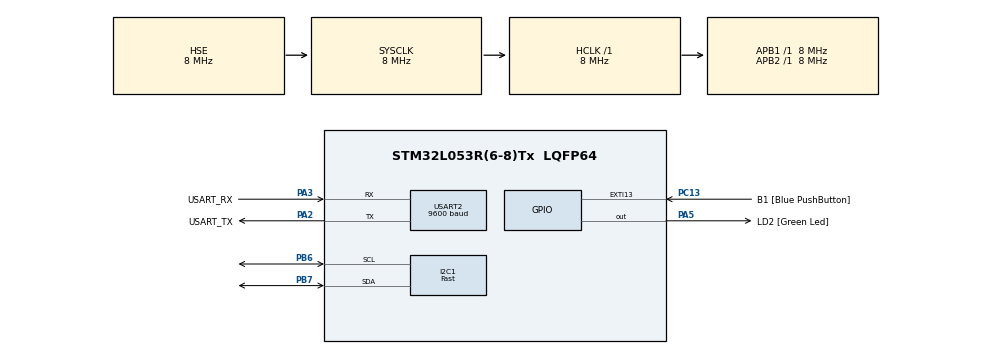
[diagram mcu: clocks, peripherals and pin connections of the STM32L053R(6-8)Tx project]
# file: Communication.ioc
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I2C1.I2C_Fall_Time=200
I2C1.I2C_Rise_Time=200
I2C1.I2C_Speed_Mode=I2C_Fast
I2C1.OwnAddress=0x68
I2C1.Timing=0x00200208
Mcu.Family=STM32L0
Mcu.Name=STM32L053R(6-8)Tx
Mcu.Package=LQFP64
PA13.GPIO_Label=TMS
PA13.Mode=Serial_Wire
PA13.Signal=SYS_SWDIO
PA14.GPIO_Label=TCK
PA14.Mode=Serial_Wire
PA14.Signal=SYS_SWCLK
PA2.GPIO_Label=USART_TX
PA2.Mode=Asynchronous
PA2.Signal=USART2_TX
PA3.GPIO_Label=USART_RX
PA3.Mode=Asynchronous
PA3.Signal=USART2_RX
PA5.GPIO_Label=LD2 [Green Led]
PA5.Signal=GPIO_Output
PB6.Mode=I2C
PB6.Signal=I2C1_SCL
PB7.Mode=I2C
PB7.Signal=I2C1_SDA
PC13.GPIO_Label=B1 [Blue PushButton]
PC13.GPIO_ModeDefaultEXTI=GPIO_MODE_IT_FALLING
PC13.Signal=GPXTI13
PC14-OSC32_IN.Mode=LSE-External-Oscillator
PC14-OSC32_IN.Signal=RCC_OSC32_IN
PC15-OSC32_OUT.Mode=LSE-External-Oscillator
PC15-OSC32_OUT.Signal=RCC_OSC32_OUT
PH0-OSC_IN.Mode=HSE-External-Clock-Source
PH0-OSC_IN.Signal=RCC_OSC_IN
PH1-OSC_OUT.Signal=RCC_OSC_OUT
ProjectManager.HeapSize=0x200
ProjectManager.StackSize=0x400
ProjectManager.TargetToolchain=MDK-ARM V5.27
RCC.AHBFreq_Value=8000000
RCC.APB1Freq_Value=8000000
RCC.APB1TimFreq_Value=8000000
RCC.APB2Freq_Value=8000000
RCC.APB2TimFreq_Value=8000000
RCC.HCLKFreq_Value=8000000
RCC.HSE_VALUE=8000000
RCC.HSI16_VALUE=16000000
RCC.HSI48_VALUE=48000000
RCC.HSI_VALUE=16000000
RCC.MSI_VALUE=2097000
RCC.SYSCLKFreq_VALUE=8000000
RCC.SYSCLKSource=RCC_SYSCLKSOURCE_HSE
RCC.VCOOutputFreq_Value=48000000
USART2.BaudRate=9600
USART2.VirtualMode-Asynchronous=VM_ASYNC
board=NUCLEO-L053R8

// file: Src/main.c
/* USER CODE BEGIN Header */
/**
  ******************************************************************************
  * @file           : main.c
  * @brief          : Main program body
  ******************************************************************************
  * @attention
  *
  * <h2><center>&copy; Copyright (c) 2021 STMicroelectronics.
  * All rights reserved.</center></h2>
  *
  * This software component is licensed by ST under BSD 3-Clause license,
  * the "License"; You may not use this file except in compliance with the
  * License. You may obtain a copy of the License at:
  *                        opensource.org/licenses/BSD-3-Clause
  *
  ******************************************************************************
  */
/* USER CODE END Header */

#include "main.h"

/* USER CODE BEGIN Includes */
#include "stdio.h"
#include "stdlib.h"
/* USER CODE END Includes */

/* USER CODE BEGIN PTD */
typedef struct {
	uint8_t seconds;
	uint8_t minutes;
	uint8_t hour;
	uint8_t dayofweek;
	uint8_t dayofmonth;
	uint8_t month;
	uint8_t year;
}TimeTyepDef;

/* USER CODE END PTD */

/* USER CODE BEGIN PD */
#define DEV_ADDR      0x68 << 1U
/* USER CODE END PD */

I2C_HandleTypeDef hi2c1;

UART_HandleTypeDef huart2;

/* USER CODE BEGIN PV */
TimeTyepDef time;
/* USER CODE END PV */

void SystemClock_Config(void);
static void MX_GPIO_Init(void);
static void MX_USART2_UART_Init(void);
static void MX_I2C1_Init(void);
/* USER CODE BEGIN PFP */
uint8_t decToBcd(int val);
int bcdToDec(uint8_t val);
void Set_Time (uint8_t sec, uint8_t min, uint8_t hour, uint8_t dow, uint8_t dom, uint8_t month, uint8_t year);
void Get_Time (void);
/* USER CODE END PFP */

int main(void)
{

  /* MCU Configuration--------------------------------------------------------*/

  /* Reset of all peripherals, Initializes the Flash interface and the Systick. */
  HAL_Init();

  /* Configure the system clock */
  SystemClock_Config();

  /* Initialize all configured peripherals */
  MX_GPIO_Init();
  MX_USART2_UART_Init();
  MX_I2C1_Init();
  /* USER CODE BEGIN 2 */
	// Set_Time(15, 02, 22, 4, 22, 9, 21);
  /* USER CODE END 2 */

  /* Infinite loop */
  /* USER CODE BEGIN WHILE */
  while (1)
  {
		Get_Time();
		HAL_Delay(500);
    /* USER CODE END WHILE */

  }
}

void SystemClock_Config(void)
{
  RCC_OscInitTypeDef RCC_OscInitStruct = {0};
  RCC_ClkInitTypeDef RCC_ClkInitStruct = {0};
  RCC_PeriphCLKInitTypeDef PeriphClkInit = {0};

  /** Configure the main internal regulator output voltage
  */
  __HAL_PWR_VOLTAGESCALING_CONFIG(PWR_REGULATOR_VOLTAGE_SCALE1);
  /** Initializes the CPU, AHB and APB busses clocks
  */
  RCC_OscInitStruct.OscillatorType = RCC_OSCILLATORTYPE_HSE;
  RCC_OscInitStruct.HSEState = RCC_HSE_BYPASS;
  RCC_OscInitStruct.PLL.PLLState = RCC_PLL_NONE;
  if (HAL_RCC_OscConfig(&RCC_OscInitStruct) != HAL_OK)
  {
    Error_Handler();
  }
  /** Initializes the CPU, AHB and APB busses clocks
  */
  RCC_ClkInitStruct.ClockType = RCC_CLOCKTYPE_HCLK|RCC_CLOCKTYPE_SYSCLK
                              |RCC_CLOCKTYPE_PCLK1|RCC_CLOCKTYPE_PCLK2;
  RCC_ClkInitStruct.SYSCLKSource = RCC_SYSCLKSOURCE_HSE;
  RCC_ClkInitStruct.AHBCLKDivider = RCC_SYSCLK_DIV1;
  RCC_ClkInitStruct.APB1CLKDivider = RCC_HCLK_DIV1;
  RCC_ClkInitStruct.APB2CLKDivider = RCC_HCLK_DIV1;

  if (HAL_RCC_ClockConfig(&RCC_ClkInitStruct, FLASH_LATENCY_0) != HAL_OK)
  {
    Error_Handler();
  }
  PeriphClkInit.PeriphClockSelection = RCC_PERIPHCLK_USART2|RCC_PERIPHCLK_I2C1;
  PeriphClkInit.Usart2ClockSelection = RCC_USART2CLKSOURCE_PCLK1;
  PeriphClkInit.I2c1ClockSelection = RCC_I2C1CLKSOURCE_PCLK1;
  if (HAL_RCCEx_PeriphCLKConfig(&PeriphClkInit) != HAL_OK)
  {
    Error_Handler();
  }
}

static void MX_I2C1_Init(void)
{

  hi2c1.Instance = I2C1;
  hi2c1.Init.Timing = 0x00200208;
  hi2c1.Init.OwnAddress1 = 208;
  hi2c1.Init.AddressingMode = I2C_ADDRESSINGMODE_7BIT;
  hi2c1.Init.DualAddressMode = I2C_DUALADDRESS_DISABLE;
  hi2c1.Init.OwnAddress2 = 0;
  hi2c1.Init.OwnAddress2Masks = I2C_OA2_NOMASK;
  hi2c1.Init.GeneralCallMode = I2C_GENERALCALL_DISABLE;
  hi2c1.Init.NoStretchMode = I2C_NOSTRETCH_DISABLE;
  if (HAL_I2C_Init(&hi2c1) != HAL_OK)
  {
    Error_Handler();
  }
  /** Configure Analogue filter
  */
  if (HAL_I2CEx_ConfigAnalogFilter(&hi2c1, I2C_ANALOGFILTER_ENABLE) != HAL_OK)
  {
    Error_Handler();
  }
  /** Configure Digital filter
  */
  if (HAL_I2CEx_ConfigDigitalFilter(&hi2c1, 0) != HAL_OK)
  {
    Error_Handler();
  }

}

static void MX_USART2_UART_Init(void)
{

  huart2.Instance = USART2;
  huart2.Init.BaudRate = 9600;
  huart2.Init.WordLength = UART_WORDLENGTH_8B;
  huart2.Init.StopBits = UART_STOPBITS_1;
  huart2.Init.Parity = UART_PARITY_NONE;
  huart2.Init.Mode = UART_MODE_TX_RX;
  huart2.Init.HwFlowCtl = UART_HWCONTROL_NONE;
  huart2.Init.OverSampling = UART_OVERSAMPLING_16;
  huart2.Init.OneBitSampling = UART_ONE_BIT_SAMPLE_DISABLE;
  huart2.AdvancedInit.AdvFeatureInit = UART_ADVFEATURE_NO_INIT;
  if (HAL_UART_Init(&huart2) != HAL_OK)
  {
    Error_Handler();
  }

}

static void MX_GPIO_Init(void)
{
  GPIO_InitTypeDef GPIO_InitStruct = {0};

  /* GPIO Ports Clock Enable */
  __HAL_RCC_GPIOC_CLK_ENABLE();
  __HAL_RCC_GPIOH_CLK_ENABLE();
  __HAL_RCC_GPIOA_CLK_ENABLE();
  __HAL_RCC_GPIOB_CLK_ENABLE();

  /*Configure GPIO pin Output Level */
  HAL_GPIO_WritePin(LD2_GPIO_Port, LD2_Pin, GPIO_PIN_RESET);

  /*Configure GPIO pin : B1_Pin */
  GPIO_InitStruct.Pin = B1_Pin;
  GPIO_InitStruct.Mode = GPIO_MODE_IT_FALLING;
  GPIO_InitStruct.Pull = GPIO_NOPULL;
  HAL_GPIO_Init(B1_GPIO_Port, &GPIO_InitStruct);

  /*Configure GPIO pin : LD2_Pin */
  GPIO_InitStruct.Pin = LD2_Pin;
  GPIO_InitStruct.Mode = GPIO_MODE_OUTPUT_PP;
  GPIO_InitStruct.Pull = GPIO_NOPULL;
  GPIO_InitStruct.Speed = GPIO_SPEED_FREQ_LOW;
  HAL_GPIO_Init(LD2_GPIO_Port, &GPIO_InitStruct);

}

/* USER CODE BEGIN 4 */
uint8_t decToBcd(int val)
{
  return (uint8_t)( (val/10*16) + (val%10) );
}

int bcdToDec(uint8_t val)
{
  return (int)( (val/16*10) + (val%16) );
}

void Set_Time (uint8_t sec, uint8_t min, uint8_t hour, uint8_t dow, uint8_t dom, uint8_t month, uint8_t year)
{
	uint8_t set_time[7];
	set_time[0] = decToBcd(sec);
	set_time[1] = decToBcd(min);
	set_time[2] = decToBcd(hour);
	set_time[3] = decToBcd(dow);
	set_time[4] = decToBcd(dom);
	set_time[5] = decToBcd(month);
	set_time[6] = decToBcd(year);

	HAL_I2C_Mem_Write(&hi2c1, DEV_ADDR, 0x00, 1, set_time, 7, 100);
}

void Get_Time (void)
{
	uint8_t get_time[7];

	HAL_I2C_Mem_Read(&hi2c1, DEV_ADDR, 0x00, 1, get_time, 7, 1000);

	time.seconds = bcdToDec(get_time[0]);
	time.minutes = bcdToDec(get_time[1]);
	time.hour = bcdToDec(get_time[2]);
	time.dayofweek = bcdToDec(get_time[3]);
	time.dayofmonth = bcdToDec(get_time[4]);
	time.month = bcdToDec(get_time[5]);
	time.year = bcdToDec(get_time[6]);
}
/* USER CODE END 4 */

void Error_Handler(void)
{
}

/************************ (C) COPYRIGHT STMicroelectronics *****END OF FILE****/
